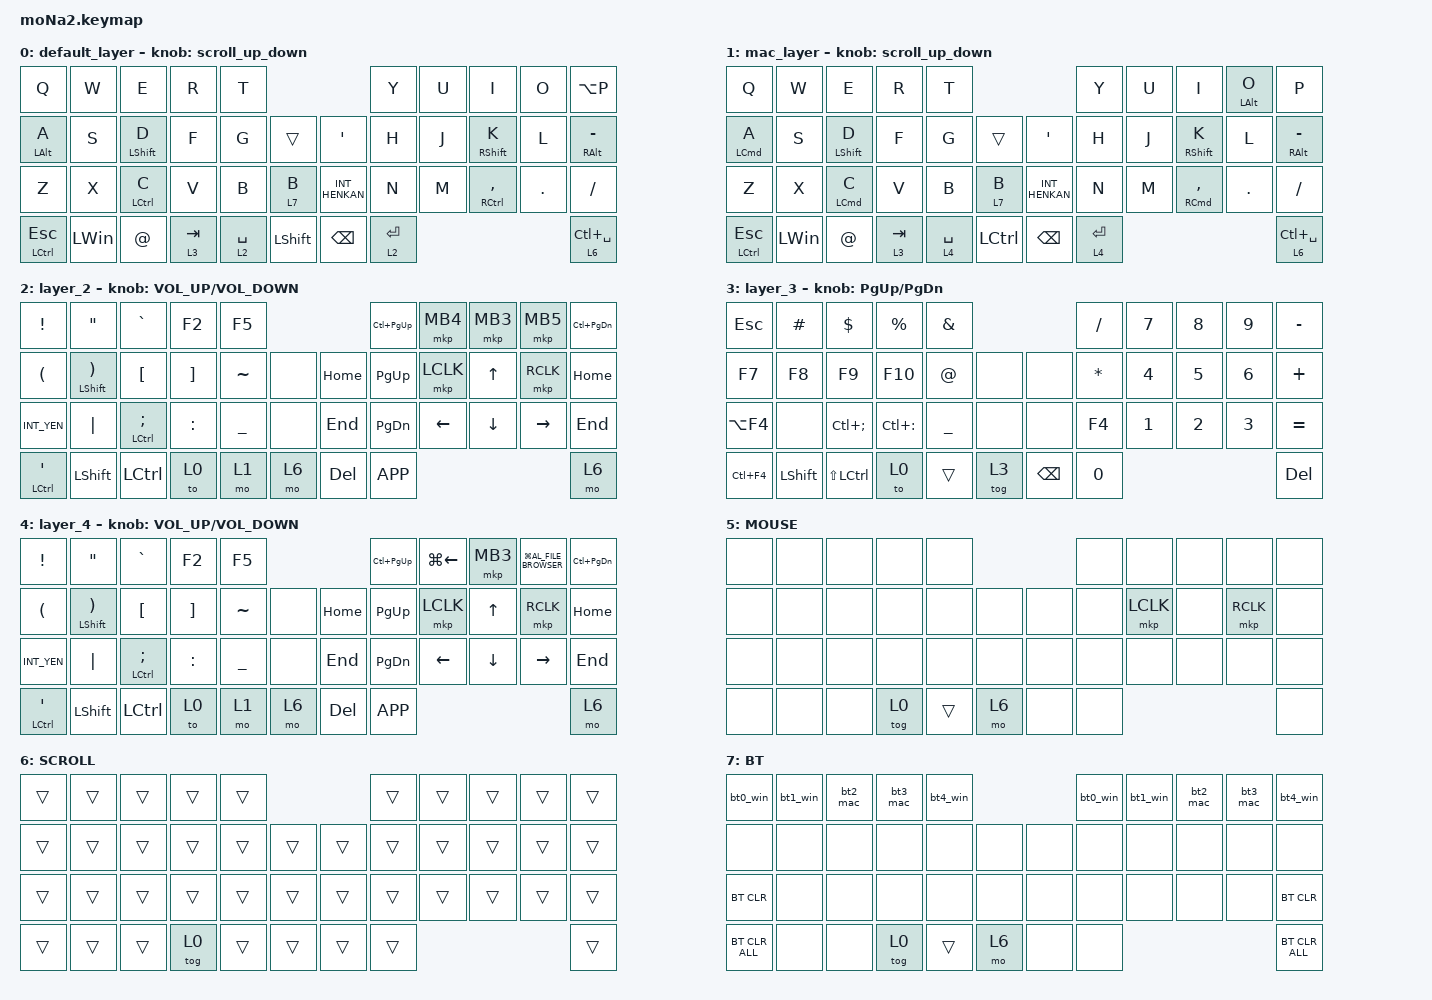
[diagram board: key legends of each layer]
#include <input/processors.dtsi>
#include <behaviors.dtsi>
#include <dt-bindings/zmk/bt.h>
#include <dt-bindings/zmk/keys.h>
#include <dt-bindings/zmk/pointing.h>

// スクロール量を変更

#define ZMK_POINTING_DEFAULT_SCRL_VAL 100
#define MOUSE 5
#define SCROLL 6
#define BT 7

&mt {
    flavor = "balanced";
    quick-tap-ms = <0>;
};

&mkp_input_listener { input-processors = <&zip_temp_layer 5 10000>; };

/ {
    combos { compatible = "zmk,combos"; };

    macros {
        to_layer_0: to_layer_0 {
            compatible = "zmk,behavior-macro-one-param";
            #binding-cells = <1>;
            bindings = <&to 0 &macro_param_1to1 &kp MACRO_PLACEHOLDER>;
            label = "TO_LAYER_0";
        };

        exit_AML: exit_AML {
            compatible = "zmk,behavior-macro";
            wait-ms = <0>;
            tap-ms = <0>;
            #binding-cells = <0>;
            bindings = <&tog_off MOUSE>;
            label = "exit_AML";
        };

        kp_exit_AML: kp_exit_AML {
            compatible = "zmk,behavior-macro-one-param";
            wait-ms = <0>;
            tap-ms = <0>;
            #binding-cells = <1>;
            bindings = <&macro_param_1to1 &kp MACRO_PLACEHOLDER &exit_AML>;
            label = "KP_exit_AML";
        };

        bt0_win: bt0_win {
            compatible = "zmk,behavior-macro";
            #binding-cells = <0>;
            bindings =
                <&tog_off 1>,
                <&macro_wait_time 100>,
                <&bt BT_SEL 0>,
                <&macro_wait_time 500>;

            label = "BT0_WN";
        };

        bt1_win: bt1_win {
            compatible = "zmk,behavior-macro";
            #binding-cells = <0>;
            bindings =
                <&tog_off 1>,
                <&macro_wait_time 200>,
                <&bt BT_SEL 1>,
                <&macro_wait_time 500>;

            label = "BT1_WIN";
        };

        bt2_mac: bt2_mac {
            compatible = "zmk,behavior-macro";
            #binding-cells = <0>;
            bindings =
                <&tog_off 1>,
                <&macro_wait_time 200>,
                <&bt BT_SEL 2>,
                <&macro_wait_time 500>,
                <&tog_on 1>;

            label = "BT1";
        };

        bt3_mac: bt3_mac {
            compatible = "zmk,behavior-macro";
            #binding-cells = <0>;
            bindings =
                <&tog_off 1>,
                <&macro_wait_time 200>,
                <&bt BT_SEL 3>,
                <&macro_wait_time 500>,
                <&tog_on 1>;

            label = "BT3_WIN";
        };

        bt4_win: bt4_win {
            compatible = "zmk,behavior-macro";
            #binding-cells = <0>;
            bindings =
                <&tog_off 1>,
                <&macro_wait_time 200>,
                <&bt BT_SEL 4>,
                <&macro_wait_time 500>;

            label = "BT4_WIN";
        };
    };

    behaviors {
        lt_to_layer_0: lt_to_layer_0 {
            compatible = "zmk,behavior-hold-tap";
            label = "LAYER_TAP_TO_0";
            bindings = <&mo>, <&to_layer_0>;

            #binding-cells = <2>;
            tapping-term-ms = <200>;
        };

        // 新しいスクロール動作

        scroll_up_down: behavior_sensor_rotate_mouse_wheel_up_down {
            compatible = "zmk,behavior-sensor-rotate";
            #sensor-binding-cells = <0>;
            bindings = <&msc SCRL_UP>, <&msc SCRL_DOWN>;

            // 追加: スクロールのタップ時間を設定 (20ms)

            tap-ms = <20>;
        };

        tog_on: toggle_layer_on {
            compatible = "zmk,behavior-toggle-layer";
            #binding-cells = <1>;
            display-name = "Toggle Layer On";
            toggle-mode = "on";
        };

        tog_off: toggle_layer_off {
            compatible = "zmk,behavior-toggle-layer";
            #binding-cells = <1>;
            display-name = "Toggle Layer Off";
            toggle-mode = "off";
        };

        mt_exit_AML_on_tap: mt_exit_AML_on_tap {
            compatible = "zmk,behavior-hold-tap";
            label = "MT_exit_AML_ON_TAP";
            bindings = <&kp>, <&kp_exit_AML>;

            #binding-cells = <2>;
            tapping-term-ms = <200>;
            flavor = "balanced";
            quick-tap-ms = <200>;
        };
    };

    keymap {
        compatible = "zmk,keymap";

        default_layer {
            bindings = <
&kp Q                             &kp W         &kp E               &kp R      &kp T                                            &kp Y        &kp U  &kp I                    &kp O    &kp LA(P)
&mt LEFT_ALT A                    &kp S         &mt LEFT_SHIFT D    &kp F      &kp G        &trans            &kp SINGLE_QUOTE  &kp H        &kp J  &mt RIGHT_SHIFT K        &kp L    &mt RIGHT_ALT MINUS
&kp Z                             &kp X         &mt LEFT_CONTROL C  &kp V      &kp B        &lt 7 B           &kp INT_HENKAN    &kp N        &kp M  &mt RIGHT_CONTROL COMMA  &kp DOT  &kp SLASH
&mt_exit_AML_on_tap LCTRL ESCAPE  &kp LEFT_WIN  &kp AT              &lt 3 TAB  &lt 2 SPACE  &kp LEFT_SHIFT    &kp BACKSPACE     &lt 2 ENTER                                           &lt 6 LC(SPACE)
            >;

            sensor-bindings = <&scroll_up_down>;
        };

        mac_layer {
            bindings = <
&kp Q                             &kp W         &kp E               &kp R      &kp T                                              &kp Y        &kp U  &kp I                    &mt LEFT_ALT O  &kp P
&mt LEFT_COMMAND A                &kp S         &mt LEFT_SHIFT D    &kp F      &kp G        &trans              &kp SINGLE_QUOTE  &kp H        &kp J  &mt RIGHT_SHIFT K        &kp L           &mt RIGHT_ALT MINUS
&kp Z                             &kp X         &mt LEFT_COMMAND C  &kp V      &kp B        &lt 7 B             &kp INT_HENKAN    &kp N        &kp M  &mt RIGHT_COMMAND COMMA  &kp DOT         &kp SLASH
&mt_exit_AML_on_tap LCTRL ESCAPE  &kp LEFT_WIN  &kp AT              &lt 3 TAB  &lt 4 SPACE  &kp LEFT_CONTROL    &kp BACKSPACE     &lt 4 ENTER                                                  &lt 6 LC(SPACE)
            >;

            sensor-bindings = <&scroll_up_down>;
        };

        layer_2 {
            bindings = <
&kp EXCL                                       &kp DQT                                           &kp GRAVE                   &kp F2             &kp F5                               &kp LC(PAGE_UP)  &mkp MB4   &mkp MB3        &mkp MB5   &kp LC(PAGE_DOWN)
&kp LEFT_PARENTHESIS                           &mt_exit_AML_on_tap LEFT_SHIFT RIGHT_PARENTHESIS  &kp LEFT_BRACKET            &kp RIGHT_BRACKET  &kp TILDE       &none    &kp HOME    &kp PAGE_UP      &mkp LCLK  &kp UP_ARROW    &mkp RCLK  &kp HOME
&kp INT_YEN                                    &kp PIPE                                          &mt LEFT_CONTROL SEMICOLON  &kp COLON          &kp UNDERSCORE  &none    &kp END     &kp PAGE_DOWN    &kp LEFT   &kp DOWN_ARROW  &kp RIGHT  &kp END
&mt_exit_AML_on_tap LEFT_CONTROL SINGLE_QUOTE  &kp LEFT_SHIFT                                    &kp LEFT_CONTROL            &to 0              &mo 1           &mo 6    &kp DELETE  &kp K_APP                                              &mo 6
            >;

            sensor-bindings = <&inc_dec_kp C_VOL_UP C_VOLUME_DOWN>;
        };

        layer_3 {
            bindings = <
&kp ESCAPE  &kp HASH        &kp DOLLAR            &kp PERCENT    &kp AMPERSAND                            &kp SLASH     &kp N7        &kp N8        &kp N9        &kp MINUS
&kp F7      &kp F8          &kp F9                &kp F10        &kp AT          &none     &none          &kp ASTERISK  &kp NUMBER_4  &kp N5        &kp NUMBER_6  &kp PLUS
&kp LA(F4)  &none           &kp LC(SEMICOLON)     &kp LC(COLON)  &kp UNDERSCORE  &none     &none          &kp F4        &kp NUMBER_1  &kp NUMBER_2  &kp NUMBER_3  &kp EQUAL
&kp LC(F4)  &kp LEFT_SHIFT  &kp LS(LEFT_CONTROL)  &to 0          &trans          &tog 3    &kp BACKSPACE  &kp N0                                                  &kp DELETE
            >;

            sensor-bindings = <&inc_dec_kp PAGE_UP PAGE_DOWN>;
        };

        layer_4 {
            bindings = <
&kp EXCL                                       &kp DQT                                           &kp GRAVE                   &kp F2             &kp F5                               &kp LC(PAGE_UP)  &kp LG(LEFT_ARROW)  &mkp MB3        &kp LG(C_AL_FILE_BROWSER)  &kp LC(PAGE_DOWN)
&kp LEFT_PARENTHESIS                           &mt_exit_AML_on_tap LEFT_SHIFT RIGHT_PARENTHESIS  &kp LEFT_BRACKET            &kp RIGHT_BRACKET  &kp TILDE       &none    &kp HOME    &kp PAGE_UP      &mkp LCLK           &kp UP_ARROW    &mkp RCLK                  &kp HOME
&kp INT_YEN                                    &kp PIPE                                          &mt LEFT_CONTROL SEMICOLON  &kp COLON          &kp UNDERSCORE  &none    &kp END     &kp PAGE_DOWN    &kp LEFT            &kp DOWN_ARROW  &kp RIGHT                  &kp END
&mt_exit_AML_on_tap LEFT_CONTROL SINGLE_QUOTE  &kp LEFT_SHIFT                                    &kp LEFT_CONTROL            &to 0              &mo 1           &mo 6    &kp DELETE  &kp K_APP                                                                       &mo 6
            >;

            sensor-bindings = <&inc_dec_kp C_VOL_UP C_VOLUME_DOWN>;
        };

        MOUSE {
            bindings = <
&none  &none  &none  &none   &none                   &none  &none      &none  &none      &none
&none  &none  &none  &none   &none   &none    &none  &none  &mkp LCLK  &none  &mkp RCLK  &none
&none  &none  &none  &none   &none   &none    &none  &none  &none      &none  &none      &none
&none  &none  &none  &tog 0  &trans  &mo 6    &none  &none                               &none
            >;
        };

        //        MOUSE {
        //            bindings = <
        //&trans  &trans  &trans  &trans  &trans                         &trans  &trans     &trans     &trans     &trans
        //&trans  &trans  &trans  &trans  &trans  &trans    &trans       &trans  &mkp LCLK  &mkp MCLK  &mkp RCLK  &trans
        //&trans  &trans  &trans  &trans  &trans  &trans    &bootloader  &trans  &trans     &trans     &trans     &trans
        //&trans  &trans  &trans  &trans  &trans  &trans    &trans       &trans                                   &trans
        //            >;
        //
        //            sensor-bindings = <&inc_dec_kp K_SCROLL_UP K_SCROLL_DOWN>;
        //        };

        SCROLL {
            bindings = <
&trans  &trans  &trans  &trans  &trans                    &trans  &trans  &trans  &trans  &trans
&trans  &trans  &trans  &trans  &trans  &trans    &trans  &trans  &trans  &trans  &trans  &trans
&trans  &trans  &trans  &trans  &trans  &trans    &trans  &trans  &trans  &trans  &trans  &trans
&trans  &trans  &trans  &tog 0  &trans  &trans    &trans  &trans                          &trans
            >;
        };

        BT {
            bindings = <
&bt0_win        &bt1_win  &bt2_mac  &bt3_mac  &bt4_win                  &bt0_win  &bt1_win  &bt2_mac  &bt3_mac  &bt4_win
&none           &none     &none     &none     &none     &none    &none  &none     &none     &none     &none     &none
&bt BT_CLR      &none     &none     &none     &none     &none    &none  &none     &none     &none     &none     &bt BT_CLR
&bt BT_CLR_ALL  &none     &none     &tog 0    &trans    &mo 6    &none  &none                                   &bt BT_CLR_ALL
            >;
        };
    };
};
